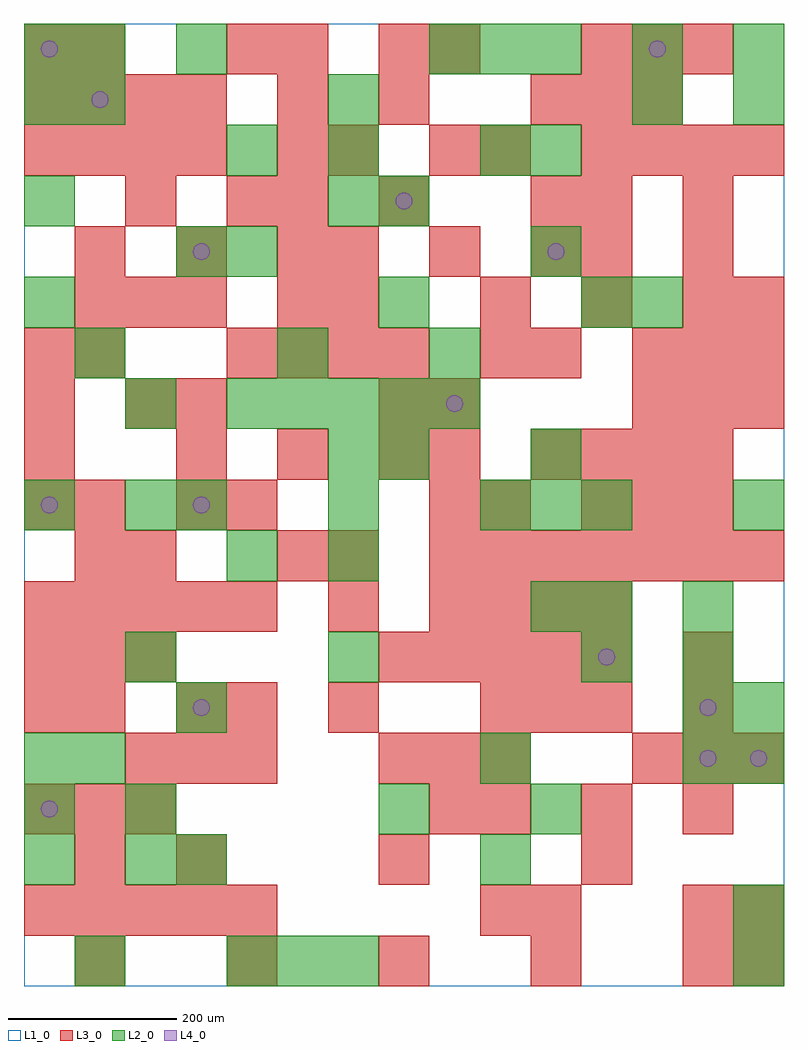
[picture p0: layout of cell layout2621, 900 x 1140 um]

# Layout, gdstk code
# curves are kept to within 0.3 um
import gdstk
lib = gdstk.Library(unit=1e-6, precision=1e-09)
def R(c, l, rs):  # rectangles x0, y0, x1, y1
    for r in rs: c.add(gdstk.rectangle(r[:2], r[2:], *l))
def A(c, l, x, y, w, h, nx, ny, dx, dy):  # array of equal rectangles
    R(c, l, [(x+i*dx, y+j*dy, x+i*dx+w, y+j*dy+h) for i in range(nx) for j in range(ny)])
def P(c, l, *ps):  # polygons
    for p in ps: c.add(gdstk.Polygon(p, *l))
L1_0 = (1, 0)
L2_0 = (2, 0)
L3_0 = (3, 0)
L4_0 = (4, 0)

layout2621 = lib.new_cell('layout2621')
R(layout2621, L1_0, [(0,0,900,1140)])
A(layout2621, L2_0, 240, 0, 60, 60, 3, 1, 60, 0)
A(layout2621, L2_0, 0, 120, 60, 60, 1, 3, 0, 60)
A(layout2621, L2_0, 120, 180, 60, 60, 1, 3, 0, 180)
A(layout2621, L2_0, 780, 240, 60, 60, 1, 4, 0, 60)
A(layout2621, L2_0, 360, 360, 60, 60, 1, 3, 0, 120)
A(layout2621, L2_0, 180, 540, 60, 60, 3, 1, 180, 0)
A(layout2621, L2_0, 240, 660, 60, 60, 5, 1, 60, 0)
A(layout2621, L2_0, 0, 780, 60, 60, 1, 3, 0, 120)
A(layout2621, L2_0, 360, 900, 60, 60, 1, 3, 0, 60)
A(layout2621, L2_0, 480, 1080, 60, 60, 3, 1, 60, 0)
R(layout2621, L2_0, [(60,0,120,60), (840,0,900,60), (840,60,900,120), (120,120,180,180), (180,120,240,180), (540,120,600,180), (420,180,480,240), (600,180,660,240), (60,240,120,300), (540,240,600,300), (840,240,900,300), (180,300,240,360), (840,300,900,360), (660,360,720,420), (600,420,660,480), (660,420,720,480), (240,480,300,540), (0,540,60,600), (600,540,660,600), (660,540,720,600), (840,540,900,600), (420,600,480,660), (600,600,660,660), (120,660,180,720), (60,720,120,780), (300,720,360,780), (480,720,540,780), (420,780,480,840), (660,780,720,840), (720,780,780,840), (180,840,240,900), (240,840,300,900), (600,840,660,900), (420,900,480,960), (240,960,300,1020), (540,960,600,1020), (600,960,660,1020), (60,1020,120,1080), (720,1020,780,1080), (840,1020,900,1080), (0,1080,60,1140), (60,1080,120,1140), (180,1080,240,1140), (720,1080,780,1140), (840,1080,900,1140)])
A(layout2621, L3_0, 60, 0, 60, 60, 5, 1, 180, 0)
A(layout2621, L3_0, 0, 60, 60, 60, 5, 2, 60, 360)
A(layout2621, L3_0, 60, 120, 60, 60, 1, 3, 0, 180)
A(layout2621, L3_0, 180, 120, 60, 60, 3, 1, 240, 0)
A(layout2621, L3_0, 0, 180, 60, 60, 3, 2, 60, 180)
A(layout2621, L3_0, 540, 180, 60, 60, 3, 2, 120, 600)
A(layout2621, L3_0, 120, 240, 60, 60, 3, 1, 60, 0)
A(layout2621, L3_0, 420, 240, 60, 60, 3, 1, 60, 0)
A(layout2621, L3_0, 720, 240, 60, 60, 3, 2, 60, 420)
A(layout2621, L3_0, 540, 300, 60, 60, 3, 1, 60, 0)
A(layout2621, L3_0, 420, 360, 60, 60, 5, 1, 60, 0)
A(layout2621, L3_0, 480, 420, 60, 60, 4, 1, 60, 0)
A(layout2621, L3_0, 480, 480, 60, 60, 7, 1, 60, 0)
A(layout2621, L3_0, 0, 540, 60, 60, 1, 4, 0, 60)
A(layout2621, L3_0, 480, 540, 60, 60, 1, 3, 0, 60)
A(layout2621, L3_0, 660, 540, 60, 60, 3, 2, 60, 540)
A(layout2621, L3_0, 180, 600, 60, 60, 3, 1, 120, 0)
A(layout2621, L3_0, 600, 600, 60, 60, 4, 1, 60, 0)
A(layout2621, L3_0, 240, 720, 60, 60, 4, 1, 60, 0)
A(layout2621, L3_0, 720, 720, 60, 60, 3, 1, 60, 0)
A(layout2621, L3_0, 60, 780, 60, 60, 3, 1, 60, 0)
A(layout2621, L3_0, 60, 840, 60, 60, 3, 1, 120, 0)
A(layout2621, L3_0, 360, 840, 60, 60, 3, 1, 120, 0)
A(layout2621, L3_0, 300, 900, 60, 60, 1, 4, 0, 60)
A(layout2621, L3_0, 0, 960, 60, 60, 4, 2, 60, 60)
A(layout2621, L3_0, 660, 960, 60, 60, 4, 1, 60, 0)
A(layout2621, L3_0, 600, 1020, 60, 60, 3, 1, 60, 0)
R(layout2621, L3_0, [(840,0,900,60), (540,60,600,120), (600,60,660,120), (780,60,840,120), (840,60,900,120), (480,180,540,240), (0,300,60,360), (180,300,240,360), (240,300,300,360), (360,300,420,360), (780,300,840,360), (780,360,840,420), (360,420,420,480), (120,480,180,540), (300,480,360,540), (360,480,420,540), (60,540,120,600), (180,540,240,600), (240,540,300,600), (540,540,600,600), (120,660,180,720), (180,660,240,720), (420,660,480,720), (60,720,120,780), (540,720,600,780), (600,720,660,780), (300,780,360,840), (360,780,420,840), (840,780,900,840), (660,840,720,900), (780,840,840,900), (120,900,180,960), (240,900,300,960), (420,900,480,960), (600,900,660,960), (660,900,720,960), (780,900,840,960), (360,960,420,1020), (480,960,540,1020), (540,960,600,1020), (420,1020,480,1080), (0,1080,60,1140), (60,1080,120,1140), (240,1080,300,1140), (420,1080,480,1140), (480,1080,540,1140)])
P(layout2621, L4_0, [(40,210),(39.239,213.827),(37.071,217.071),(33.827,219.239),(30,220),(26.173,219.239),(22.929,217.071),(20.761,213.827),(20,210),(20.761,206.173),(22.929,202.929),(26.173,200.761),(30,200),(33.827,200.761),(37.071,202.929),(39.239,206.173)],
  [(40,570),(39.239,573.827),(37.071,577.071),(33.827,579.239),(30,580),(26.173,579.239),(22.929,577.071),(20.761,573.827),(20,570),(20.761,566.173),(22.929,562.929),(26.173,560.761),(30,560),(33.827,560.761),(37.071,562.929),(39.239,566.173)],
  [(40,1110),(39.239,1113.827),(37.071,1117.071),(33.827,1119.239),(30,1120),(26.173,1119.239),(22.929,1117.071),(20.761,1113.827),(20,1110),(20.761,1106.173),(22.929,1102.929),(26.173,1100.761),(30,1100),(33.827,1100.761),(37.071,1102.929),(39.239,1106.173)],
  [(100,1050),(99.239,1053.827),(97.071,1057.071),(93.827,1059.239),(90,1060),(86.173,1059.239),(82.929,1057.071),(80.761,1053.827),(80,1050),(80.761,1046.173),(82.929,1042.929),(86.173,1040.761),(90,1040),(93.827,1040.761),(97.071,1042.929),(99.239,1046.173)],
  [(220,330),(219.239,333.827),(217.071,337.071),(213.827,339.239),(210,340),(206.173,339.239),(202.929,337.071),(200.761,333.827),(200,330),(200.761,326.173),(202.929,322.929),(206.173,320.761),(210,320),(213.827,320.761),(217.071,322.929),(219.239,326.173)],
  [(220,570),(219.239,573.827),(217.071,577.071),(213.827,579.239),(210,580),(206.173,579.239),(202.929,577.071),(200.761,573.827),(200,570),(200.761,566.173),(202.929,562.929),(206.173,560.761),(210,560),(213.827,560.761),(217.071,562.929),(219.239,566.173)],
  [(220,870),(219.239,873.827),(217.071,877.071),(213.827,879.239),(210,880),(206.173,879.239),(202.929,877.071),(200.761,873.827),(200,870),(200.761,866.173),(202.929,862.929),(206.173,860.761),(210,860),(213.827,860.761),(217.071,862.929),(219.239,866.173)],
  [(460,930),(459.239,933.827),(457.071,937.071),(453.827,939.239),(450,940),(446.173,939.239),(442.929,937.071),(440.761,933.827),(440,930),(440.761,926.173),(442.929,922.929),(446.173,920.761),(450,920),(453.827,920.761),(457.071,922.929),(459.239,926.173)],
  [(520,690),(519.239,693.827),(517.071,697.071),(513.827,699.239),(510,700),(506.173,699.239),(502.929,697.071),(500.761,693.827),(500,690),(500.761,686.173),(502.929,682.929),(506.173,680.761),(510,680),(513.827,680.761),(517.071,682.929),(519.239,686.173)],
  [(640,870),(639.239,873.827),(637.071,877.071),(633.827,879.239),(630,880),(626.173,879.239),(622.929,877.071),(620.761,873.827),(620,870),(620.761,866.173),(622.929,862.929),(626.173,860.761),(630,860),(633.827,860.761),(637.071,862.929),(639.239,866.173)],
  [(700,390),(699.239,393.827),(697.071,397.071),(693.827,399.239),(690,400),(686.173,399.239),(682.929,397.071),(680.761,393.827),(680,390),(680.761,386.173),(682.929,382.929),(686.173,380.761),(690,380),(693.827,380.761),(697.071,382.929),(699.239,386.173)],
  [(760,1110),(759.239,1113.827),(757.071,1117.071),(753.827,1119.239),(750,1120),(746.173,1119.239),(742.929,1117.071),(740.761,1113.827),(740,1110),(740.761,1106.173),(742.929,1102.929),(746.173,1100.761),(750,1100),(753.827,1100.761),(757.071,1102.929),(759.239,1106.173)],
  [(820,270),(819.239,273.827),(817.071,277.071),(813.827,279.239),(810,280),(806.173,279.239),(802.929,277.071),(800.761,273.827),(800,270),(800.761,266.173),(802.929,262.929),(806.173,260.761),(810,260),(813.827,260.761),(817.071,262.929),(819.239,266.173)],
  [(820,330),(819.239,333.827),(817.071,337.071),(813.827,339.239),(810,340),(806.173,339.239),(802.929,337.071),(800.761,333.827),(800,330),(800.761,326.173),(802.929,322.929),(806.173,320.761),(810,320),(813.827,320.761),(817.071,322.929),(819.239,326.173)],
  [(880,270),(879.239,273.827),(877.071,277.071),(873.827,279.239),(870,280),(866.173,279.239),(862.929,277.071),(860.761,273.827),(860,270),(860.761,266.173),(862.929,262.929),(866.173,260.761),(870,260),(873.827,260.761),(877.071,262.929),(879.239,266.173)])

lib.write_gds('layout2621.gds')
